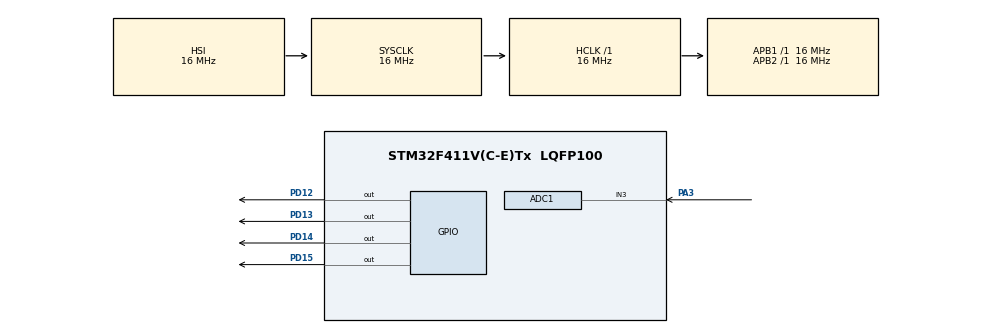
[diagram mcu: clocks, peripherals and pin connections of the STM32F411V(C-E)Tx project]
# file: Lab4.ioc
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ADC1.Channel-1\#ChannelRegularConversion=ADC_CHANNEL_3
ADC1.ClockPrescaler=ADC_CLOCK_SYNC_PCLK_DIV8
ADC1.NbrOfConversionFlag=1
ADC1.Rank-1\#ChannelRegularConversion=1
ADC1.SamplingTime-1\#ChannelRegularConversion=ADC_SAMPLETIME_480CYCLES
ADC1.master=1
Mcu.Family=STM32F4
Mcu.Name=STM32F411V(C-E)Tx
Mcu.Package=LQFP100
NVIC.PriorityGroup=NVIC_PRIORITYGROUP_4
PA3.Signal=ADCx_IN3
PD12.Signal=GPIO_Output
PD13.Signal=GPIO_Output
PD14.Signal=GPIO_Output
PD15.Signal=GPIO_Output
ProjectManager.HeapSize=0x200
ProjectManager.StackSize=0x400
ProjectManager.TargetToolchain=STM32CubeIDE
RCC.AHBFreq_Value=16000000
RCC.APB1Freq_Value=16000000
RCC.APB2Freq_Value=16000000
RCC.CortexFreq_Value=16000000
RCC.HSE_VALUE=25000000
RCC.HSI_VALUE=16000000
RCC.LSE_VALUE=32768
RCC.SYSCLKFreq_VALUE=16000000
RCC.VCOOutputFreq_Value=192000000
SH.ADCx_IN3.0=ADC1_IN3,IN3
board=custom

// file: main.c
/* USER CODE BEGIN Header */
/**
  ******************************************************************************
  * @file           : main.c
  * @brief          : Main program body
  ******************************************************************************
  * @attention
  *
  * Copyright (c) 2023 STMicroelectronics.
  * All rights reserved.
  *
  * This software is licensed under terms that can be found in the LICENSE file
  * in the root directory of this software component.
  * If no LICENSE file comes with this software, it is provided AS-IS.
  *
  ******************************************************************************
  */
/* USER CODE END Header */
#include "main.h"

ADC_HandleTypeDef hadc1;

void SystemClock_Config(void);
static void MX_GPIO_Init(void);
static void MX_ADC1_Init(void);

int main(void)
{

  /* MCU Configuration--------------------------------------------------------*/

  /* Reset of all peripherals, Initializes the Flash interface and the Systick. */
  HAL_Init();

  /* Configure the system clock */
  SystemClock_Config();

  /* Initialize all configured peripherals */
  MX_GPIO_Init();
  MX_ADC1_Init();
  /* USER CODE BEGIN 2 */

  uint32_t adcValue = 0;
  volatile HAL_StatusTypeDef adcPoolResult;

  /* USER CODE END 2 */

  /* Infinite loop */
  /* USER CODE BEGIN WHILE */
  while (1)
  {
	  HAL_ADC_Start(&hadc1);
  	  	  adcPoolResult = HAL_ADC_PollForConversion(&hadc1, 10);

  	  if (adcPoolResult == HAL_OK) {
  		  adcValue = HAL_ADC_GetValue(&hadc1);
  	  }
  	  else {
  	  	  continue;
  	  }

  	  if (adcValue < 819) {
  	  	  HAL_GPIO_WritePin(GPIOD, GPIO_PIN_12, GPIO_PIN_RESET);
  	  	  HAL_GPIO_WritePin(GPIOD, GPIO_PIN_13, GPIO_PIN_RESET);
  	  	  HAL_GPIO_WritePin(GPIOD, GPIO_PIN_14, GPIO_PIN_RESET);
  	  	  HAL_GPIO_WritePin(GPIOD, GPIO_PIN_15, GPIO_PIN_RESET);
  	  }
  	  else if (adcValue >= 819 && adcValue <= 1638){
  	  	  HAL_GPIO_WritePin(GPIOD, GPIO_PIN_12, GPIO_PIN_SET);
  	  	  HAL_GPIO_WritePin(GPIOD, GPIO_PIN_13, GPIO_PIN_RESET);
  	  	  HAL_GPIO_WritePin(GPIOD, GPIO_PIN_14, GPIO_PIN_RESET);
  	  	  HAL_GPIO_WritePin(GPIOD, GPIO_PIN_15, GPIO_PIN_RESET);
  	  }
  	  else if (adcValue >= 1639 && adcValue <= 2457) {
  	  	  HAL_GPIO_WritePin(GPIOD, GPIO_PIN_12, GPIO_PIN_SET);
  	  	  HAL_GPIO_WritePin(GPIOD, GPIO_PIN_13, GPIO_PIN_SET);
  	  	  HAL_GPIO_WritePin(GPIOD, GPIO_PIN_14, GPIO_PIN_RESET);
  	  	  HAL_GPIO_WritePin(GPIOD, GPIO_PIN_15, GPIO_PIN_RESET);
	  }
  	  else if (adcValue >= 2458 && adcValue <= 3276) {
  	  	  HAL_GPIO_WritePin(GPIOD, GPIO_PIN_12, GPIO_PIN_SET);
  	  	  HAL_GPIO_WritePin(GPIOD, GPIO_PIN_13, GPIO_PIN_SET);
  	  	  HAL_GPIO_WritePin(GPIOD, GPIO_PIN_14, GPIO_PIN_SET);
  	  	  HAL_GPIO_WritePin(GPIOD, GPIO_PIN_15, GPIO_PIN_RESET);
  	  }
  	  else {  // 80-100
  	  	  HAL_GPIO_WritePin(GPIOD, GPIO_PIN_12, GPIO_PIN_SET);
  	  	  HAL_GPIO_WritePin(GPIOD, GPIO_PIN_13, GPIO_PIN_SET);
  	  	  HAL_GPIO_WritePin(GPIOD, GPIO_PIN_14, GPIO_PIN_SET);
  	  	  HAL_GPIO_WritePin(GPIOD, GPIO_PIN_15, GPIO_PIN_SET);
  	  }
    /* USER CODE END WHILE */

  }
}

void SystemClock_Config(void)
{
  RCC_OscInitTypeDef RCC_OscInitStruct = {0};
  RCC_ClkInitTypeDef RCC_ClkInitStruct = {0};

  /** Configure the main internal regulator output voltage
  */
  __HAL_RCC_PWR_CLK_ENABLE();
  __HAL_PWR_VOLTAGESCALING_CONFIG(PWR_REGULATOR_VOLTAGE_SCALE1);

  /** Initializes the RCC Oscillators according to the specified parameters
  * in the RCC_OscInitTypeDef structure.
  */
  RCC_OscInitStruct.OscillatorType = RCC_OSCILLATORTYPE_HSI;
  RCC_OscInitStruct.HSIState = RCC_HSI_ON;
  RCC_OscInitStruct.HSICalibrationValue = RCC_HSICALIBRATION_DEFAULT;
  RCC_OscInitStruct.PLL.PLLState = RCC_PLL_NONE;
  if (HAL_RCC_OscConfig(&RCC_OscInitStruct) != HAL_OK)
  {
    Error_Handler();
  }

  /** Initializes the CPU, AHB and APB buses clocks
  */
  RCC_ClkInitStruct.ClockType = RCC_CLOCKTYPE_HCLK|RCC_CLOCKTYPE_SYSCLK
                              |RCC_CLOCKTYPE_PCLK1|RCC_CLOCKTYPE_PCLK2;
  RCC_ClkInitStruct.SYSCLKSource = RCC_SYSCLKSOURCE_HSI;
  RCC_ClkInitStruct.AHBCLKDivider = RCC_SYSCLK_DIV1;
  RCC_ClkInitStruct.APB1CLKDivider = RCC_HCLK_DIV1;
  RCC_ClkInitStruct.APB2CLKDivider = RCC_HCLK_DIV1;

  if (HAL_RCC_ClockConfig(&RCC_ClkInitStruct, FLASH_LATENCY_0) != HAL_OK)
  {
    Error_Handler();
  }
}

static void MX_ADC1_Init(void)
{

  ADC_ChannelConfTypeDef sConfig = {0};

  /** Configure the global features of the ADC (Clock, Resolution, Data Alignment and number of conversion)
  */
  hadc1.Instance = ADC1;
  hadc1.Init.ClockPrescaler = ADC_CLOCK_SYNC_PCLK_DIV8;
  hadc1.Init.Resolution = ADC_RESOLUTION_12B;
  hadc1.Init.ScanConvMode = DISABLE;
  hadc1.Init.ContinuousConvMode = DISABLE;
  hadc1.Init.DiscontinuousConvMode = DISABLE;
  hadc1.Init.ExternalTrigConvEdge = ADC_EXTERNALTRIGCONVEDGE_NONE;
  hadc1.Init.ExternalTrigConv = ADC_SOFTWARE_START;
  hadc1.Init.DataAlign = ADC_DATAALIGN_RIGHT;
  hadc1.Init.NbrOfConversion = 1;
  hadc1.Init.DMAContinuousRequests = DISABLE;
  hadc1.Init.EOCSelection = ADC_EOC_SINGLE_CONV;
  if (HAL_ADC_Init(&hadc1) != HAL_OK)
  {
    Error_Handler();
  }

  /** Configure for the selected ADC regular channel its corresponding rank in the sequencer and its sample time.
  */
  sConfig.Channel = ADC_CHANNEL_3;
  sConfig.Rank = 1;
  sConfig.SamplingTime = ADC_SAMPLETIME_480CYCLES;
  if (HAL_ADC_ConfigChannel(&hadc1, &sConfig) != HAL_OK)
  {
    Error_Handler();
  }

}

static void MX_GPIO_Init(void)
{
  GPIO_InitTypeDef GPIO_InitStruct = {0};

  /* GPIO Ports Clock Enable */
  __HAL_RCC_GPIOA_CLK_ENABLE();
  __HAL_RCC_GPIOD_CLK_ENABLE();

  /*Configure GPIO pin Output Level */
  HAL_GPIO_WritePin(GPIOD, GPIO_PIN_12|GPIO_PIN_13|GPIO_PIN_14|GPIO_PIN_15, GPIO_PIN_RESET);

  /*Configure GPIO pins : PD12 PD13 PD14 PD15 */
  GPIO_InitStruct.Pin = GPIO_PIN_12|GPIO_PIN_13|GPIO_PIN_14|GPIO_PIN_15;
  GPIO_InitStruct.Mode = GPIO_MODE_OUTPUT_PP;
  GPIO_InitStruct.Pull = GPIO_NOPULL;
  GPIO_InitStruct.Speed = GPIO_SPEED_FREQ_LOW;
  HAL_GPIO_Init(GPIOD, &GPIO_InitStruct);

}

void Error_Handler(void)
{
  __disable_irq();
  while (1)
  {
  }
}
